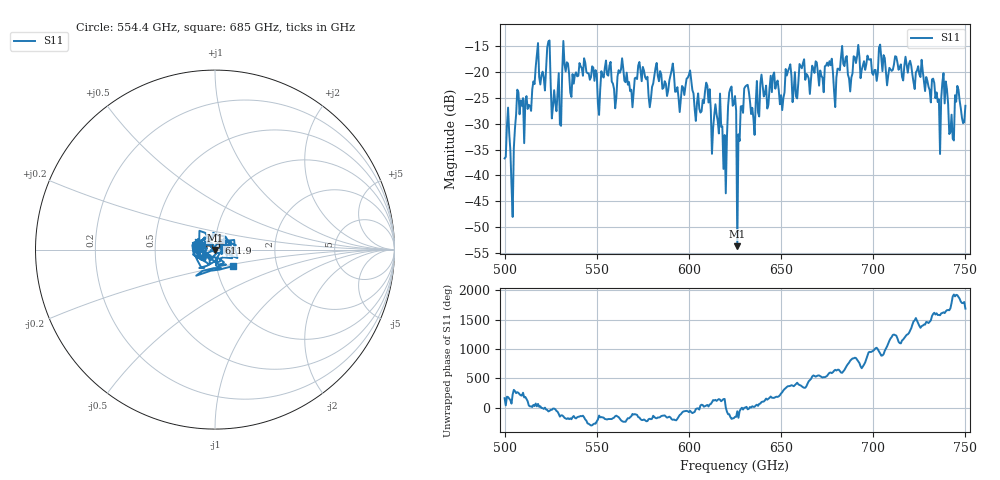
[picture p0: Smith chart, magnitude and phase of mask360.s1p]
!Created with skrf (http://scikit-rf.org).
# GHz S MA R 50.0
!freq magS11 angS11
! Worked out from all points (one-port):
!   401 points, 500 GHz to 750 GHz, reference 50 ohm
!   lowest |S11| = -53.7 dB at 626.2 GHz (marker M1), VSWR 1.00, Z = 50.1 - j0.183 ohm
!   |S11| at or under -10 dB: start of sweep to end of sweep
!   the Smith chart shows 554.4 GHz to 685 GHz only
!   S11 on the Smith chart (normalised r, x): 554.4 GHz: 0.81, +0.04; 611.9 GHz: 1.04, +0.08; 685 GHz: 1.21, -0.22
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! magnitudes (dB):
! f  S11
! 500 GHz  -36.7
! 504.4 GHz  -48.0
! 507.5 GHz  -23.9
! 513.8 GHz  -26.5
! 516.9 GHz  -19.0
! 523.8 GHz  -14.1
! 526.9 GHz  -23.5
! 531.2 GHz  -19.9
! 554.4 GHz  -19.2
! 562.5 GHz  -20.1
! 593.8 GHz  -22.9
! 600 GHz  -20.6
! 611.9 GHz  -27.3
! 619.4 GHz  -32.2
! 623.8 GHz  -26.5
! 625 GHz  -24.6
! 626.2 GHz  -53.7
! 631.2 GHz  -22.6
! 635 GHz  -29.0
! 656.2 GHz  -25.8
! 685 GHz  -17.3
! 687.5 GHz  -23.7
! 718.8 GHz  -20.1
! 735 GHz  -25.8
! 738.8 GHz  -26.1
! 742.5 GHz  -28.2
! 745.6 GHz  -22.7
! 750 GHz  -26.5
